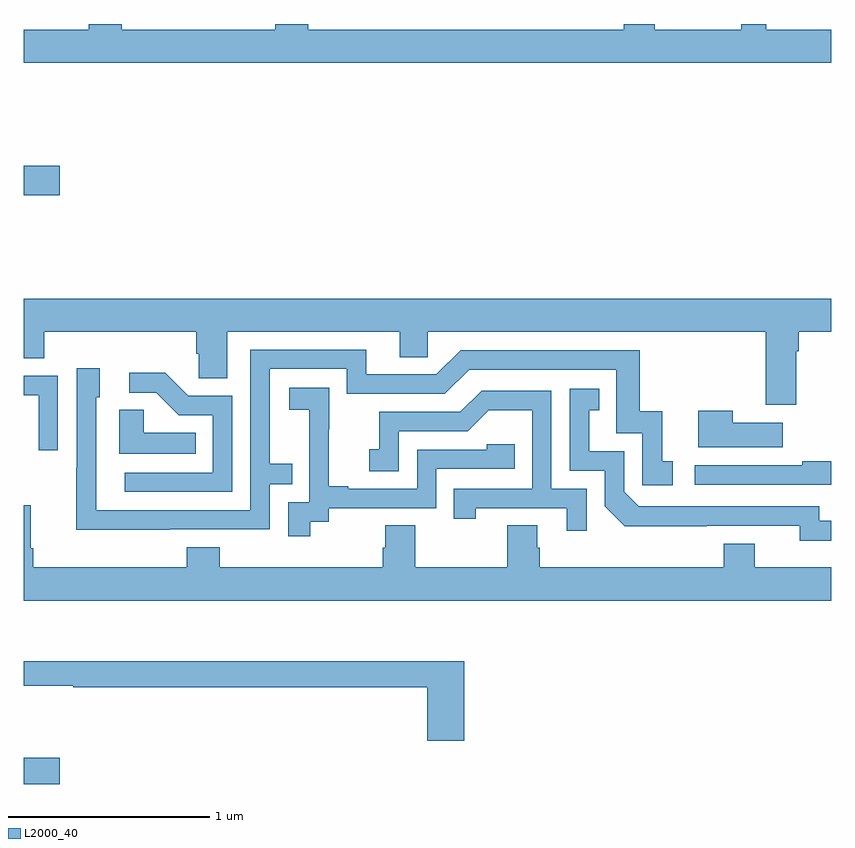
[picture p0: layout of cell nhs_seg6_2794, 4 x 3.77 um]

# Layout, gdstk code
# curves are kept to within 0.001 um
import gdstk
lib = gdstk.Library(unit=1e-6, precision=1e-09)
def R(c, l, rs):  # rectangles x0, y0, x1, y1
    for r in rs: c.add(gdstk.rectangle(r[:2], r[2:], *l))
def P(c, l, *ps):  # polygons
    for p in ps: c.add(gdstk.Polygon(p, *l))
L2000_40 = (2000, 40)

nhs_seg6_2794 = lib.new_cell('nhs_seg6_2794')
R(nhs_seg6_2794, L2000_40, [(275,971.735,275.179,971.865), (275,974.651,275.179,974.798)])
P(nhs_seg6_2794, L2000_40, [(279,975.472),(278.678,975.472),(278.678,975.5),(278.555,975.5),(278.555,975.472),(278.125,975.472),(278.125,975.5),(277.973,975.5),(277.973,975.472),(276.41,975.472),(276.41,975.5),(276.245,975.5),(276.245,975.472),(275.486,975.472),(275.486,975.5),(275.321,975.5),(275.321,975.472),(275,975.472),(275,975.308),(279,975.308)],
  [(278.827,973.88),(278.84,973.88),(278.84,973.976),(279,973.976),(279,974.14),(275,974.14),(275,973.843),(275.102,973.843),(275.102,973.976),(275.855,973.976),(275.855,973.867),(275.868,973.867),(275.868,973.744),(276.007,973.744),(276.007,973.976),(276.863,973.976),(276.863,973.849),(277.002,973.849),(277.002,973.976),(278.675,973.976),(278.675,973.614),(278.827,973.614)],
  [(275.723,972.996),(276.219,972.996),(276.219,973.221),(276.329,973.221),(276.329,973.322),(276.219,973.322),(276.219,973.791),(276.6,973.791),(276.6,973.668),(277.086,973.668),(277.206,973.788),(277.935,973.788),(277.935,973.473),(278.064,973.473),(278.064,973.215),(278.215,973.215),(278.215,973.335),(278.162,973.335),(278.162,973.582),(278.051,973.582),(278.051,973.884),(277.164,973.884),(277.044,973.764),(276.697,973.764),(276.697,973.887),(276.123,973.887),(276.123,973.092),(275.358,973.092),(275.358,973.65),(275.377,973.65),(275.377,973.795),(275.262,973.795),(275.262,973.301),(275.26,973.301),(275.26,972.995)],
  [(276.033,973.659),(275.814,973.659),(275.701,973.772),(275.523,973.772),(275.523,973.674),(275.657,973.674),(275.768,973.563),(275.937,973.563),(275.937,973.278),(275.499,973.278),(275.499,973.182),(276.033,973.182)],
  [(275.169,973.758),(275,973.758),(275,973.662),(275.073,973.662),(275.073,973.389),(275.169,973.389)],
  [(276.418,973.033),(276.51,973.033),(276.51,973.101),(277.044,973.101),(277.044,973.296),(277.433,973.296),(277.433,973.419),(277.293,973.419),(277.293,973.392),(276.948,973.392),(276.948,973.197),(276.607,973.197),(276.607,973.21),(276.512,973.21),(276.512,973.493),(276.513,973.493),(276.513,973.699),(276.315,973.699),(276.315,973.589),(276.413,973.589),(276.413,973.361),(276.414,973.361),(276.414,973.131),(276.309,973.131),(276.309,972.963),(276.418,972.963)],
  [(279,973.038),(278.94,973.038),(278.94,973.11),(278.046,973.11),(277.974,973.182),(277.974,973.383),(277.801,973.383),(277.801,973.587),(277.85,973.587),(277.85,973.693),(277.704,973.693),(277.704,973.287),(277.878,973.287),(277.878,973.11),(277.976,973.013),(278.844,973.014),(278.844,972.941),(279,972.941)],
  [(277.788,973.197),(277.614,973.197),(277.614,973.683),(277.268,973.683),(277.163,973.578),(276.76,973.578),(276.76,973.393),(276.711,973.393),(276.711,973.284),(276.858,973.284),(276.858,973.482),(277.2,973.482),(277.304,973.586),(277.518,973.586),(277.518,973.197),(277.129,973.197),(277.129,973.05),(277.24,973.05),(277.24,973.101),(277.691,973.101),(277.691,972.99),(277.788,972.99)],
  [(275.852,973.474),(275.595,973.474),(275.595,973.589),(275.474,973.589),(275.474,973.37),(275.852,973.37)],
  [(278.761,973.525),(278.513,973.525),(278.513,973.585),(278.342,973.585),(278.342,973.403),(278.761,973.403)],
  [(279,973.334),(278.857,973.334),(278.857,973.314),(278.325,973.314),(278.325,973.218),(279,973.218)],
  [(279,972.808),(278.62,972.808),(278.62,972.925),(278.468,972.925),(278.468,972.808),(277.556,972.808),(277.556,972.906),(277.543,972.906),(277.543,973.016),(277.396,973.016),(277.396,972.808),(276.939,972.808),(276.939,973.016),(276.791,973.016),(276.791,972.906),(276.779,972.906),(276.779,972.808),(275.972,972.808),(275.972,972.907),(275.807,972.907),(275.807,972.808),(275.048,972.808),(275.048,972.904),(275.035,972.904),(275.035,973.117),(275,973.117),(275,972.644),(279,972.644)],
  [(277.181,972.343),(275,972.343),(275,972.222),(275.244,972.222),(275.244,972.214),(276.998,972.214),(276.998,971.949),(277.181,971.949)])

lib.write_gds('nhs_seg6_2794.gds')
